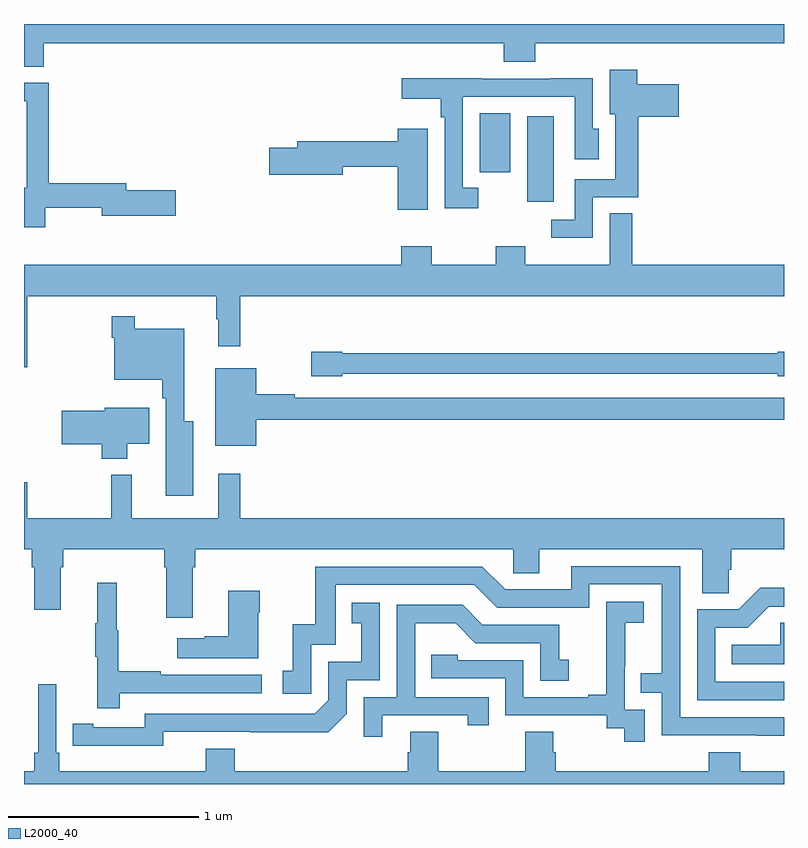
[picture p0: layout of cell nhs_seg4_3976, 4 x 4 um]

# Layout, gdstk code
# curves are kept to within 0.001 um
import gdstk
lib = gdstk.Library(unit=1e-6, precision=1e-09)
def R(c, l, rs):  # rectangles x0, y0, x1, y1
    for r in rs: c.add(gdstk.rectangle(r[:2], r[2:], *l))
def P(c, l, *ps):  # polygons
    for p in ps: c.add(gdstk.Polygon(p, *l))
L2000_40 = (2000, 40)

nhs_seg4_3976 = lib.new_cell('nhs_seg4_3976')
R(nhs_seg4_3976, L2000_40, [(323.648,815.964,323.788,816.415), (323.399,816.12,323.56,816.431)])
P(nhs_seg4_3976, L2000_40, [(321.104,816.8),(323.525,816.8),(323.525,816.701),(323.69,816.701),(323.69,816.8),(325,816.8),(325,816.9),(321,816.9),(321,816.676),(321.104,816.676)],
  [(323.994,815.988),(324.232,815.988),(324.232,816.413),(324.445,816.413),(324.445,816.583),(324.227,816.583),(324.227,816.658),(324.083,816.658),(324.083,816.425),(324.113,816.425),(324.113,816.084),(323.898,816.084),(323.898,815.871),(323.775,815.871),(323.775,815.774),(323.994,815.774)],
  [(323.392,816.039),(323.31,816.039),(323.31,816.516),(323.898,816.516),(323.898,816.189),(324.025,816.189),(324.025,816.348),(323.994,816.348),(323.994,816.614),(323.773,816.614),(323.773,816.612),(323.407,816.612),(323.407,816.614),(322.989,816.614),(322.989,816.506),(323.194,816.506),(323.194,816.41),(323.214,816.41),(323.214,815.931),(323.392,815.931)],
  [(321.112,815.934),(321.41,815.934),(321.41,815.891),(321.799,815.891),(321.799,816.026),(321.538,816.026),(321.538,816.062),(321.131,816.062),(321.131,816.591),(321,816.591),(321,816.494),(321.015,816.494),(321.015,816.039),(321,816.039),(321,815.829),(321.112,815.829)],
  [(323.125,816.349),(322.967,816.349),(322.967,816.284),(322.439,816.284),(322.439,816.248),(322.29,816.248),(322.29,816.106),(322.678,816.106),(322.678,816.148),(322.967,816.148),(322.967,815.922),(323.125,815.922)],
  [(321.016,815.468),(322.011,815.468),(322.011,815.345),(322.022,815.345),(322.022,815.205),(322.139,815.205),(322.139,815.468),(325,815.468),(325,815.632),(324.202,815.632),(324.202,815.903),(324.083,815.903),(324.083,815.632),(323.637,815.632),(323.637,815.731),(323.482,815.731),(323.482,815.632),(323.145,815.632),(323.145,815.731),(322.985,815.731),(322.985,815.632),(321,815.632),(321,815.094),(321.016,815.094)],
  [(321.892,814.81),(321.844,814.81),(321.844,815.296),(321.583,815.296),(321.583,815.362),(321.462,815.362),(321.462,815.249),(321.474,815.249),(321.474,815.027),(321.727,815.027),(321.727,814.931),(321.746,814.931),(321.746,814.418),(321.892,814.418)],
  [(322.674,815.058),(324.966,815.058),(324.966,815.045),(325,815.045),(325,815.175),(324.966,815.175),(324.966,815.167),(322.674,815.167),(322.674,815.175),(322.512,815.175),(322.512,815.045),(322.674,815.045)],
  [(322.222,814.816),(325,814.816),(325,814.932),(322.424,814.932),(322.424,814.952),(322.222,814.952),(322.222,815.089),(322.007,815.089),(322.007,814.679),(322.222,814.679)],
  [(321.544,814.691),(321.658,814.691),(321.658,814.879),(321.426,814.879),(321.426,814.865),(321.198,814.865),(321.198,814.687),(321.41,814.687),(321.41,814.613),(321.544,814.613)],
  [(321.889,814.04),(321.902,814.04),(321.902,814.136),(323.574,814.136),(323.574,814.009),(323.713,814.009),(323.713,814.136),(324.569,814.136),(324.569,813.904),(324.708,813.904),(324.708,814.027),(324.722,814.027),(324.722,814.136),(325,814.136),(325,814.3),(322.139,814.3),(322.139,814.534),(322.022,814.534),(322.022,814.3),(321.568,814.3),(321.568,814.528),(321.459,814.528),(321.459,814.3),(321.016,814.3),(321.016,814.489),(321,814.489),(321,814.136),(321.041,814.136),(321.041,814.04),(321.053,814.04),(321.053,813.816),(321.193,813.816),(321.193,814.04),(321.206,814.04),(321.206,814.136),(321.737,814.136),(321.737,814.04),(321.749,814.04),(321.749,813.774),(321.889,813.774)],
  [(325,813.252),(324.453,813.252),(324.453,814.047),(323.879,814.047),(323.879,813.924),(323.532,813.924),(323.412,814.044),(322.533,814.044),(322.533,813.742),(322.415,813.742),(322.415,813.495),(322.362,813.495),(322.362,813.375),(322.512,813.375),(322.512,813.633),(322.641,813.633),(322.641,813.948),(323.37,813.948),(323.49,813.828),(323.976,813.828),(323.976,813.951),(324.357,813.951),(324.357,813.482),(324.247,813.482),(324.247,813.381),(324.357,813.381),(324.357,813.156),(325,813.155)],
  [(321.503,813.378),(322.252,813.378),(322.252,813.474),(321.719,813.474),(321.719,813.494),(321.496,813.494),(321.496,813.708),(321.488,813.708),(321.488,813.958),(321.386,813.958),(321.386,813.745),(321.375,813.745),(321.375,813.571),(321.386,813.571),(321.386,813.3),(321.503,813.3)],
  [(325,813.438),(324.639,813.438),(324.639,813.723),(324.808,813.723),(324.919,813.834),(325,813.834),(325,813.932),(324.875,813.932),(324.762,813.819),(324.543,813.819),(324.543,813.342),(325,813.342)],
  [(322.234,813.803),(322.242,813.803),(322.242,813.916),(322.076,813.916),(322.076,813.677),(321.95,813.677),(321.95,813.667),(321.807,813.667),(321.807,813.563),(322.234,813.563)],
  [(324.267,813.291),(324.162,813.291),(324.162,813.521),(324.164,813.521),(324.164,813.749),(324.262,813.749),(324.262,813.859),(324.064,813.859),(324.064,813.653),(324.065,813.653),(324.065,813.37),(323.969,813.37),(323.969,813.357),(323.628,813.357),(323.628,813.552),(323.283,813.552),(323.283,813.579),(323.143,813.579),(323.143,813.456),(323.532,813.456),(323.532,813.261),(324.066,813.261),(324.066,813.193),(324.159,813.193),(324.159,813.123),(324.267,813.123)],
  [(321.732,813.174),(322.6,813.173),(322.698,813.27),(322.698,813.447),(322.872,813.447),(322.872,813.853),(322.726,813.853),(322.726,813.747),(322.775,813.747),(322.775,813.543),(322.602,813.543),(322.602,813.342),(322.53,813.27),(321.636,813.27),(321.636,813.198),(321.364,813.198),(321.364,813.218),(321.256,813.218),(321.256,813.102),(321.732,813.101)],
  [(322.885,813.261),(323.336,813.261),(323.336,813.21),(323.447,813.21),(323.447,813.357),(323.058,813.357),(323.058,813.746),(323.272,813.746),(323.376,813.642),(323.718,813.642),(323.718,813.444),(323.866,813.444),(323.866,813.553),(323.817,813.553),(323.817,813.738),(323.413,813.738),(323.308,813.843),(322.962,813.843),(322.962,813.357),(322.788,813.357),(322.788,813.15),(322.885,813.15)],
  [(325,813.749),(324.981,813.749),(324.981,813.634),(324.724,813.634),(324.724,813.53),(325,813.53)],
  [(325,812.968),(324.77,812.968),(324.77,813.067),(324.605,813.067),(324.605,812.968),(323.798,812.968),(323.798,813.066),(323.785,813.066),(323.785,813.176),(323.638,813.176),(323.638,812.968),(323.181,812.968),(323.181,813.176),(323.033,813.176),(323.033,813.066),(323.021,813.066),(323.021,812.968),(322.109,812.968),(322.109,813.085),(321.956,813.085),(321.956,812.968),(321.185,812.968),(321.185,813.064),(321.171,813.064),(321.171,813.424),(321.074,813.424),(321.074,813.064),(321.055,813.064),(321.055,812.968),(321,812.968),(321,812.9),(325,812.9)])

lib.write_gds('nhs_seg4_3976.gds')
